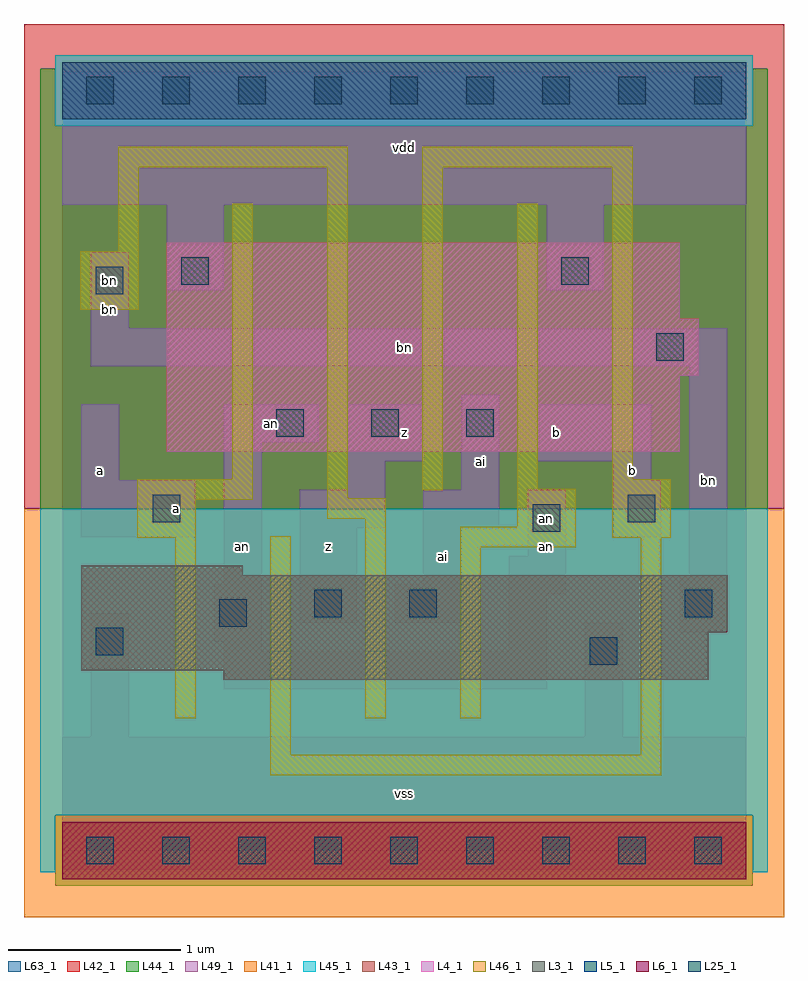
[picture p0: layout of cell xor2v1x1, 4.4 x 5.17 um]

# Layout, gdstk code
import gdstk
lib = gdstk.Library(unit=1e-6, precision=1e-09)
def R(c, l, rs):  # rectangles x0, y0, x1, y1
    for r in rs: c.add(gdstk.rectangle(r[:2], r[2:], *l))
def A(c, l, x, y, w, h, nx, ny, dx, dy):  # array of equal rectangles
    R(c, l, [(x+i*dx, y+j*dy, x+i*dx+w, y+j*dy+h) for i in range(nx) for j in range(ny)])
L3_1 = (3, 1)
L4_1 = (4, 1)
L5_1 = (5, 1)
L6_1 = (6, 1)
L25_1 = (25, 1)
L41_1 = (41, 1)
L42_1 = (42, 1)
L43_1 = (43, 1)
L44_1 = (44, 1)
L45_1 = (45, 1)
L46_1 = (46, 1)
L49_1 = (49, 1)
L63_1 = (63, 1)

xor2v1x1 = lib.new_cell('xor2v1x1')
R(xor2v1x1, L3_1, [(0.935,0.99,3.74,1.045), (0.11,1.045,3.74,1.265), (0.11,1.265,3.85,1.595), (0.11,1.595,1.045,1.65)])
R(xor2v1x1, L4_1, [(0.605,2.31,3.575,2.75), (0.605,2.75,3.685,3.08), (0.605,3.08,3.575,3.52)])
R(xor2v1x1, L5_1, [(0,4.235,3.96,4.565)])
R(xor2v1x1, L6_1, [(0,-0.165,3.96,0.165)])
A(xor2v1x1, L25_1, 0.14, -0.08, 0.16, 0.16, 9, 2, 0.44, 4.4)
A(xor2v1x1, L25_1, 1.24, 2.395, 0.16, 0.16, 3, 1, 0.55, 0)
R(xor2v1x1, L25_1, [(3.055,1.075,3.215,1.235), (0.195,1.13,0.355,1.29), (0.91,1.295,1.07,1.455), (1.46,1.35,1.62,1.51), (2.01,1.35,2.17,1.51), (3.605,1.35,3.765,1.51), (2.725,1.845,2.885,2.005), (0.525,1.9,0.685,2.06), (3.275,1.9,3.435,2.06), (3.44,2.835,3.6,2.995), (0.195,3.22,0.355,3.38), (0.69,3.275,0.85,3.435), (2.89,3.275,3.05,3.435)])
R(xor2v1x1, L41_1, [(-0.22,-0.385,4.18,1.98)])
R(xor2v1x1, L42_1, [(-0.22,1.98,4.18,4.785)])
R(xor2v1x1, L43_1, [(0,-0.165,3.96,0.165), (0.935,0.99,3.74,1.045), (0.11,1.045,3.74,1.265), (0.11,1.265,3.85,1.595), (0.11,1.595,1.045,1.65), (0.605,2.31,3.575,2.75), (0.605,2.75,3.685,3.08), (0.605,3.08,3.575,3.52), (0,4.235,3.96,4.565)])
R(xor2v1x1, L44_1, [(-0.04,-0.205,4,0.205), (-0.125,1.98,4.085,4.195), (-0.125,4.195,-0.04,4.525), (4,4.195,4.085,4.525)])
R(xor2v1x1, L45_1, [(-0.125,-0.125,-0.04,0.205), (4,-0.125,4.085,0.205), (-0.125,0.205,4.085,1.98), (-0.04,4.195,4,4.605)])
R(xor2v1x1, L46_1, [(1.205,0.435,3.47,0.555), (1.205,0.555,1.325,1.82), (3.35,0.555,3.47,1.81), (0.655,0.765,0.775,1.81), (1.755,0.765,1.875,1.92), (2.305,0.765,2.425,1.755), (2.305,1.755,2.975,1.875), (0.435,1.81,0.775,2.03), (3.185,1.81,3.525,2.15), (2.635,1.875,2.975,2.095), (1.535,1.92,1.875,2.04), (0.435,2.03,1.105,2.15), (1.535,2.04,1.655,3.955), (2.085,2.085,2.205,3.955), (2.635,2.095,2.755,3.745), (0.985,2.15,1.105,3.745), (3.185,2.15,3.305,3.955), (0.105,3.13,0.445,3.47), (0.325,3.47,0.445,3.955), (0.325,3.955,1.655,4.075), (2.085,3.955,3.305,4.075)])
R(xor2v1x1, L49_1, [(0,-0.11,3.96,0.66), (0.165,0.66,0.385,1.375), (3.025,0.66,3.245,1.32), (0.935,0.935,2.805,1.155), (0.935,1.155,1.155,1.21), (2.585,1.155,2.805,1.485), (0.88,1.21,1.155,1.54), (3.575,1.265,3.85,1.595), (1.375,1.32,1.705,1.87), (1.925,1.32,2.31,1.54), (2.585,1.485,2.915,1.705), (0.935,1.54,1.155,2.365), (2.09,1.54,2.31,1.87), (3.63,1.595,3.85,2.805), (2.695,1.705,2.915,2.09), (0.11,1.815,0.77,2.145), (3.19,1.815,3.465,2.145), (1.375,1.87,1.87,2.09), (2.09,1.87,2.53,2.09), (1.65,2.09,1.87,2.255), (2.31,2.09,2.53,2.64), (0.11,2.145,0.33,2.585), (3.19,2.145,3.41,2.255), (1.65,2.255,2.09,2.585), (2.75,2.255,3.41,2.585), (0.935,2.365,1.485,2.585), (0.165,2.805,3.85,3.025), (0.165,3.025,0.385,3.465), (0.605,3.245,0.935,3.74), (2.805,3.245,3.135,3.74), (0,3.74,3.96,4.51)])
R(xor2v1x1, L63_1, [(0,0,3.96,4.4)])
xor2v1x1.add(gdstk.Label('bn', (0.275,3.3), layer=49, texttype=1))
xor2v1x1.add(gdstk.Label('an', (2.805,1.925), layer=49, texttype=1))
xor2v1x1.add(gdstk.Label('a', (0.22,2.2), layer=49, texttype=1))
xor2v1x1.add(gdstk.Label('bn', (0.275,3.135), layer=49, texttype=1))
xor2v1x1.add(gdstk.Label('an', (1.045,1.76), layer=49, texttype=1))
xor2v1x1.add(gdstk.Label('a', (0.66,1.98), layer=49, texttype=1))
xor2v1x1.add(gdstk.Label('an', (1.21,2.475), layer=49, texttype=1))
xor2v1x1.add(gdstk.Label('vss', (1.98,0.33), layer=49, texttype=1))
xor2v1x1.add(gdstk.Label('ai', (2.2,1.705), layer=49, texttype=1))
xor2v1x1.add(gdstk.Label('z', (1.54,1.76), layer=49, texttype=1))
xor2v1x1.add(gdstk.Label('z', (1.98,2.42), layer=49, texttype=1))
xor2v1x1.add(gdstk.Label('vdd', (1.98,4.07), layer=49, texttype=1))
xor2v1x1.add(gdstk.Label('an', (2.805,1.76), layer=49, texttype=1))
xor2v1x1.add(gdstk.Label('b', (2.86,2.42), layer=49, texttype=1))
xor2v1x1.add(gdstk.Label('ai', (2.42,2.255), layer=49, texttype=1))
xor2v1x1.add(gdstk.Label('b', (3.3,2.2), layer=49, texttype=1))
xor2v1x1.add(gdstk.Label('bn', (3.74,2.145), layer=49, texttype=1))
xor2v1x1.add(gdstk.Label('bn', (1.98,2.915), layer=49, texttype=1))

lib.write_gds('xor2v1x1.gds')
